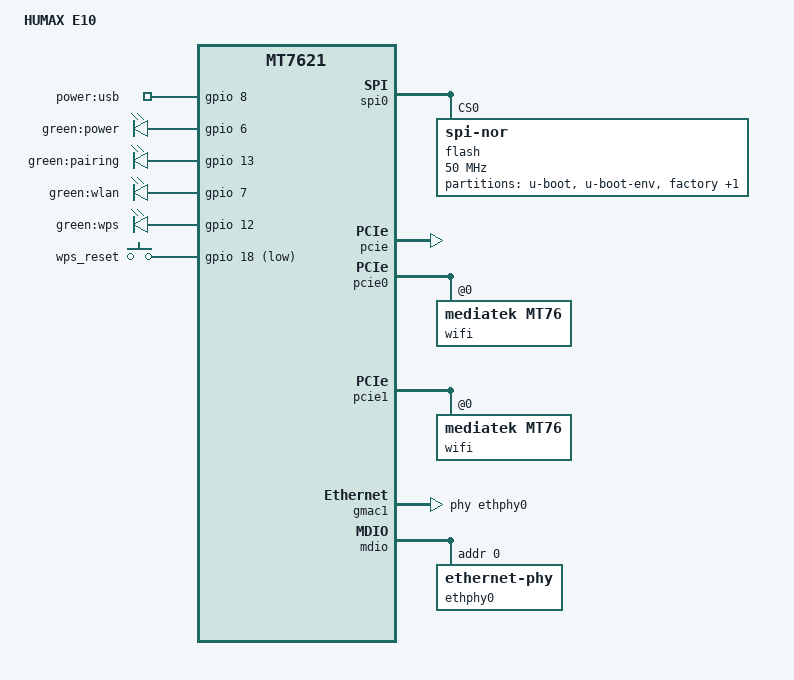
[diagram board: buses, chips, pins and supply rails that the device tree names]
// SPDX-License-Identifier: GPL-2.0-or-later OR MIT

#include "mt7621.dtsi"

#include <dt-bindings/gpio/gpio.h>
#include <dt-bindings/input/input.h>
#include <dt-bindings/mtd/partitions/uimage.h>

/ {
	compatible = "humax,e10", "mediatek,mt7621-soc";
	model = "HUMAX E10";

	aliases {
		led-boot = &led_power;
		led-failsafe = &led_power;
		led-running = &led_power;
		led-upgrade = &led_power;
		label-mac-device = &gmac1;
	};

	gpio-export {
		compatible = "gpio-export";

		gpio-usb-power {
			gpio-export,name = "power:usb";
			gpio-export,output = <1>;
			gpios = <&gpio 8 GPIO_ACTIVE_HIGH>;
		};
	};

	leds {
		compatible = "gpio-leds";

		led_power: power {
			label = "green:power";
			gpios = <&gpio 6 GPIO_ACTIVE_HIGH>;
		};

		pairing {
			label = "green:pairing";
			gpios = <&gpio 13 GPIO_ACTIVE_HIGH>;
		};

		wlan {
			label = "green:wlan";
			gpios = <&gpio 7 GPIO_ACTIVE_HIGH>;
		};

		wps {
			label = "green:wps";
			gpios = <&gpio 12 GPIO_ACTIVE_HIGH>;
		};
	};

	keys {
		compatible = "gpio-keys";

		wps-reset {
			label = "wps_reset";
			gpios = <&gpio 18 GPIO_ACTIVE_LOW>;
			linux,code = <KEY_RESTART>;
		};
	};
};

&spi0 {
	status = "okay";

	flash@0 {
		compatible = "jedec,spi-nor";
		reg = <0>;
		spi-max-frequency = <50000000>;

		partitions {
			compatible = "fixed-partitions";
			#address-cells = <1>;
			#size-cells = <1>;

			partition@0 {
				label = "u-boot";
				reg = <0x0 0x30000>;
				read-only;
			};

			partition@30000 {
				label = "u-boot-env";
				reg = <0x30000 0x10000>;
				read-only;
			};

			factory: partition@40000 {
				label = "factory";
				reg = <0x40000 0x30000>;
				read-only;
			};

			partition@70000 {
				compatible = "openwrt,uimage", "denx,uimage";
				openwrt,offset = <FW_EDIMAX_OFFSET>;
				openwrt,partition-magic = <FW_MAGIC_EDIMAX>;
				label = "firmware";
				reg = <0x70000 0xf90000>;
			};
		};
	};
};

&pcie {
	status = "okay";
};

&pcie0 {
	wifi@0,0 {
		compatible = "mediatek,mt76";
		reg = <0x0000 0 0 0 0>;
		mediatek,mtd-eeprom = <&factory 0x0000>;
		ieee80211-freq-limit = <2400000 2500000>;
	};
};

&pcie1 {
	wifi@0,0 {
		compatible = "mediatek,mt76";
		reg = <0x0000 0 0 0 0>;
		mediatek,mtd-eeprom = <&factory 0x8000>;
		ieee80211-freq-limit = <5000000 6000000>;
	};
};

&gmac0 {
	nvmem-cells = <&macaddr_factory_10007>;
	nvmem-cell-names = "mac-address";
};

&gmac1 {
	status = "okay";
	label = "wan";
	phy-handle = <&ethphy0>;

	nvmem-cells = <&macaddr_factory_1000d>;
	nvmem-cell-names = "mac-address";
};

&mdio {
	ethphy0: ethernet-phy@0 {
		reg = <0>;
	};
};

&switch0 {
	ports {
		port@1 {
			status = "okay";
			label = "lan";
		};
	};
};

&state_default {
	gpio {
		groups = "jtag", "uart2", "uart3", "wdt";
		function = "gpio";
	};
};

&factory {
	compatible = "nvmem-cells";
	#address-cells = <1>;
	#size-cells = <1>;

	macaddr_factory_10007: macaddr@10007 {
		reg = <0x10007 0x6>;
	};

	macaddr_factory_1000d: macaddr@1000d {
		reg = <0x1000d 0x6>;
	};
};
